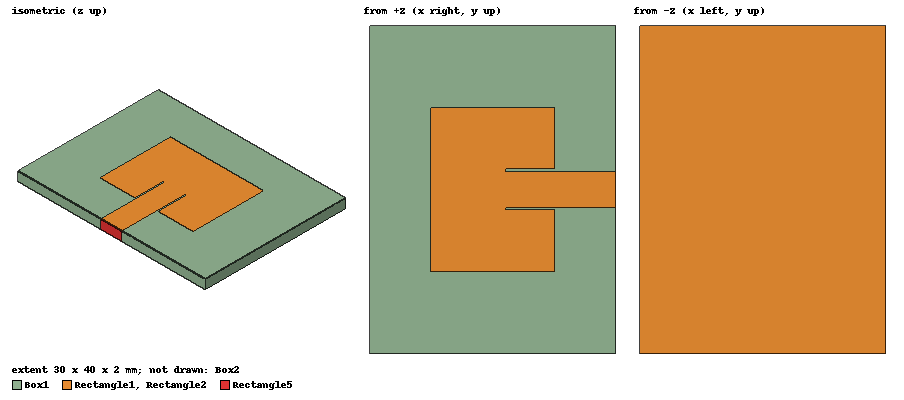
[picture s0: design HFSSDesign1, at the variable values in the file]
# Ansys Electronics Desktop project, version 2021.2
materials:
  vacuum: permittivity=1
  Rogers RO4003 (tm): permittivity=3.55 dielectric_loss_tangent=0.0027

design HFSSDesign1 (HFSS, DrivenModal, model units mm)
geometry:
  Box1 [Rogers RO4003 (tm)] = box(corner=(-15mm, -20mm, 0mm), size=(30mm, 40mm, 2mm))
  Rectangle1 = rectangle(corner=(-15mm, -20mm, 0mm), x_size=30mm, y_size=40mm)
  Rectangle2 = rectangle(corner=((-15.08064788232/2) mm, (-19.889806323954/2) mm, 2mm), x_size=15.080648mm, y_size=19.889806mm)
  Rectangle3 = rectangle(corner=(0mm, (-4.4739318237324/2) mm, 2mm), x_size=15mm, y_size=4.4739318mm)
  Rectangle4 = rectangle(corner=((15.08064788232/2) mm, (-5/2) mm, 2mm), x_size=-6mm, y_size=5mm)
  Rectangle2.subtract(Rectangle4)
  Rectangle2.unite(Rectangle3)
  Rectangle5 = rectangle(corner=(15mm, (-4.4739318237324/2) mm, 2mm), y_size=4.4739318mm, z_size=-2mm)
  Box2 [vacuum] = box(corner=((-40/2) mm, (-50/2) mm, -5mm), size=(40mm, 50mm, 10mm))
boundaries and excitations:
  PerfE1: Perfect E Objects=[Rectangle2, Rectangle1]
  Rad1: Radiation Objects=Box2
  1: Lumped Port Objects=Rectangle5 Modes{Mode1{IntLine{middle of Rectangle5.edge(z opposite corner) -> middle of Rectangle5.edge(z at corner)} CharImp=Zpi RenormImp=50ohm}} Impedance=50ohm
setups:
  Setup1: HfssDriven MultipleAdaptiveFreqsSetup{Low=4GHz High=6GHz} MaxDeltaS=0.02 MaximumPasses=20 MinimumPasses=1 MinimumConvergedPasses=1 PercentRefinement=30 BasisOrder=1 PortAccuracy=2
    sweep Sweep: 4GHz to 6GHz, 401 points; Type=Fast SaveFields
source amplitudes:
  1:1: 1W 0deg
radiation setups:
  Infinite Sphere1: Infinite Sphere Theta=0deg..360deg step 10deg Phi=-180deg..180deg step 2deg
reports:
  S Parameter Plot 1: dB(S(1,1)) vs Freq on Setup1 : Sweep
